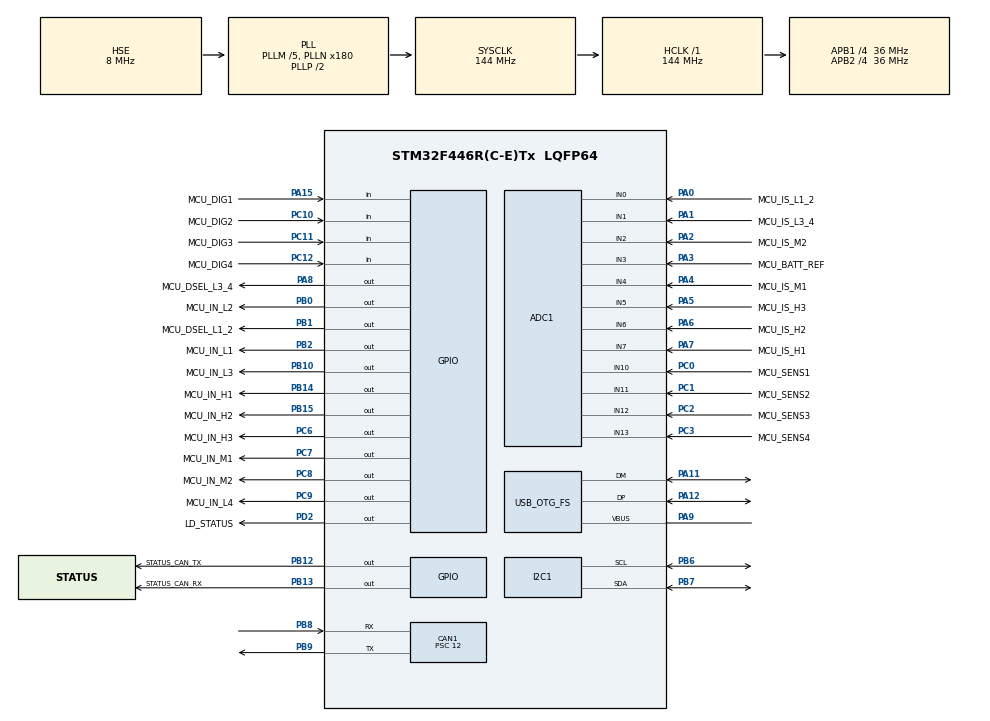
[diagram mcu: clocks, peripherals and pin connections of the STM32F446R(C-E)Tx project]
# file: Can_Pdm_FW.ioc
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ADC1.Channel-0\#ChannelRegularConversion=ADC_CHANNEL_7
ADC1.Channel-1\#ChannelRegularConversion=ADC_CHANNEL_6
ADC1.Channel-10\#ChannelRegularConversion=ADC_CHANNEL_13
ADC1.Channel-11\#ChannelRegularConversion=ADC_CHANNEL_3
ADC1.Channel-2\#ChannelRegularConversion=ADC_CHANNEL_5
ADC1.Channel-3\#ChannelRegularConversion=ADC_CHANNEL_4
ADC1.Channel-4\#ChannelRegularConversion=ADC_CHANNEL_2
ADC1.Channel-5\#ChannelRegularConversion=ADC_CHANNEL_0
ADC1.Channel-6\#ChannelRegularConversion=ADC_CHANNEL_1
ADC1.Channel-7\#ChannelRegularConversion=ADC_CHANNEL_10
ADC1.Channel-8\#ChannelRegularConversion=ADC_CHANNEL_11
ADC1.Channel-9\#ChannelRegularConversion=ADC_CHANNEL_12
ADC1.ContinuousConvMode=ENABLE
ADC1.DMAContinuousRequests=ENABLE
ADC1.EnableAnalogWatchDog=false
ADC1.NbrOfConversion=12
ADC1.NbrOfConversionFlag=1
ADC1.Rank-0\#ChannelRegularConversion=1
ADC1.Rank-1\#ChannelRegularConversion=2
ADC1.Rank-10\#ChannelRegularConversion=11
ADC1.Rank-11\#ChannelRegularConversion=12
ADC1.Rank-2\#ChannelRegularConversion=3
ADC1.Rank-3\#ChannelRegularConversion=4
ADC1.Rank-4\#ChannelRegularConversion=5
ADC1.Rank-5\#ChannelRegularConversion=6
ADC1.Rank-6\#ChannelRegularConversion=7
ADC1.Rank-7\#ChannelRegularConversion=8
ADC1.Rank-8\#ChannelRegularConversion=9
ADC1.Rank-9\#ChannelRegularConversion=10
ADC1.SamplingTime-0\#ChannelRegularConversion=ADC_SAMPLETIME_144CYCLES
ADC1.SamplingTime-1\#ChannelRegularConversion=ADC_SAMPLETIME_144CYCLES
ADC1.SamplingTime-10\#ChannelRegularConversion=ADC_SAMPLETIME_144CYCLES
ADC1.SamplingTime-11\#ChannelRegularConversion=ADC_SAMPLETIME_144CYCLES
ADC1.SamplingTime-2\#ChannelRegularConversion=ADC_SAMPLETIME_144CYCLES
ADC1.SamplingTime-3\#ChannelRegularConversion=ADC_SAMPLETIME_144CYCLES
ADC1.SamplingTime-4\#ChannelRegularConversion=ADC_SAMPLETIME_144CYCLES
ADC1.SamplingTime-5\#ChannelRegularConversion=ADC_SAMPLETIME_144CYCLES
ADC1.SamplingTime-6\#ChannelRegularConversion=ADC_SAMPLETIME_144CYCLES
ADC1.SamplingTime-7\#ChannelRegularConversion=ADC_SAMPLETIME_144CYCLES
ADC1.SamplingTime-8\#ChannelRegularConversion=ADC_SAMPLETIME_144CYCLES
ADC1.SamplingTime-9\#ChannelRegularConversion=ADC_SAMPLETIME_144CYCLES
ADC1.ScanConvMode=ENABLE
ADC1.master=1
CAN1.BS1=CAN_BS1_3TQ
CAN1.BS2=CAN_BS2_2TQ
CAN1.CalculateBaudRate=499999
CAN1.CalculateTimeBit=2000
CAN1.CalculateTimeQuantum=333.33333333333337
CAN1.Prescaler=12
Dma.ADC1.0.Direction=DMA_PERIPH_TO_MEMORY
Dma.ADC1.0.FIFOMode=DMA_FIFOMODE_DISABLE
Dma.ADC1.0.Instance=DMA2_Stream0
Dma.ADC1.0.MemDataAlignment=DMA_MDATAALIGN_HALFWORD
Dma.ADC1.0.MemInc=DMA_MINC_ENABLE
Dma.ADC1.0.Mode=DMA_CIRCULAR
Dma.ADC1.0.PeriphDataAlignment=DMA_PDATAALIGN_HALFWORD
Dma.ADC1.0.PeriphInc=DMA_PINC_DISABLE
Dma.ADC1.0.Priority=DMA_PRIORITY_LOW
Dma.Request0=ADC1
FREERTOS.Tasks01=BoardStatusTask,0,128,StartBoardStatusTask,Default,NULL,Dynamic,NULL,NULL
I2C1.I2C_Mode=I2C_Standard
Mcu.Family=STM32F4
Mcu.Name=STM32F446R(C-E)Tx
Mcu.Package=LQFP64
NVIC.CAN1_RX0_IRQn=true\:5\:0\:false\:false\:true\:true\:true\:true\:true
NVIC.DMA2_Stream0_IRQn=true\:5\:0\:false\:false\:true\:true\:false\:true\:true
NVIC.OTG_FS_IRQn=true\:5\:0\:false\:false\:true\:true\:false\:true\:true
NVIC.PriorityGroup=NVIC_PRIORITYGROUP_4
PA0-WKUP.GPIO_Label=MCU_IS_L1_2
PA0-WKUP.Signal=ADCx_IN0
PA1.GPIO_Label=MCU_IS_L3_4
PA1.Signal=ADCx_IN1
PA11.Mode=Device_Only
PA11.Signal=USB_OTG_FS_DM
PA12.Mode=Device_Only
PA12.Signal=USB_OTG_FS_DP
PA13.Signal=SYS_JTMS-SWDIO
PA14.Signal=SYS_JTCK-SWCLK
PA15.GPIO_Label=MCU_DIG1
PA15.Signal=GPIO_Input
PA2.GPIO_Label=MCU_IS_M2
PA2.Signal=ADCx_IN2
PA3.GPIO_Label=MCU_BATT_REF
PA3.Signal=ADCx_IN3
PA4.GPIO_Label=MCU_IS_M1
PA4.Signal=ADCx_IN4
PA5.GPIO_Label=MCU_IS_H3
PA5.Signal=ADCx_IN5
PA6.GPIO_Label=MCU_IS_H2
PA6.Signal=ADCx_IN6
PA7.GPIO_Label=MCU_IS_H1
PA7.Signal=ADCx_IN7
PA8.GPIO_Label=MCU_DSEL_L3_4
PA8.Signal=GPIO_Output
PA9.Mode=Activate_VBUS
PA9.Signal=USB_OTG_FS_VBUS
PB0.GPIO_Label=MCU_IN_L2
PB0.Signal=GPIO_Output
PB1.GPIO_Label=MCU_DSEL_L1_2
PB1.Signal=GPIO_Output
PB10.GPIO_Label=MCU_IN_L3
PB10.Signal=GPIO_Output
PB12.GPIO_Label=STATUS_CAN_TX
PB12.Signal=GPIO_Output
PB13.GPIO_Label=STATUS_CAN_RX
PB13.Signal=GPIO_Output
PB14.GPIO_Label=MCU_IN_H1
PB14.Signal=GPIO_Output
PB15.GPIO_Label=MCU_IN_H2
PB15.Signal=GPIO_Output
PB2.GPIO_Label=MCU_IN_L1
PB2.Signal=GPIO_Output
PB3.Signal=SYS_JTDO-SWO
PB6.Mode=I2C
PB6.Signal=I2C1_SCL
PB7.Mode=I2C
PB7.Signal=I2C1_SDA
PB8.GPIO_PuPd=GPIO_PULLUP
PB8.Mode=CAN_Activate
PB8.Signal=CAN1_RX
PB9.Mode=CAN_Activate
PB9.Signal=CAN1_TX
PC0.GPIO_Label=MCU_SENS1
PC0.Signal=ADCx_IN10
PC1.GPIO_Label=MCU_SENS2
PC1.Signal=ADCx_IN11
PC10.GPIO_Label=MCU_DIG2
PC10.Signal=GPIO_Input
PC11.GPIO_Label=MCU_DIG3
PC11.Signal=GPIO_Input
PC12.GPIO_Label=MCU_DIG4
PC12.Signal=GPIO_Input
PC2.GPIO_Label=MCU_SENS3
PC2.Signal=ADCx_IN12
PC3.GPIO_Label=MCU_SENS4
PC3.Signal=ADCx_IN13
PC6.GPIO_Label=MCU_IN_H3
PC6.Signal=GPIO_Output
PC7.GPIO_Label=MCU_IN_M1
PC7.Signal=GPIO_Output
PC8.GPIO_Label=MCU_IN_M2
PC8.Signal=GPIO_Output
PC9.GPIO_Label=MCU_IN_L4
PC9.Signal=GPIO_Output
PD2.GPIO_Label=LD_STATUS
PD2.Signal=GPIO_Output
PH0-OSC_IN.Mode=HSE-External-Oscillator
PH0-OSC_IN.Signal=RCC_OSC_IN
PH1-OSC_OUT.Mode=HSE-External-Oscillator
PH1-OSC_OUT.Signal=RCC_OSC_OUT
ProjectManager.HeapSize=0x200
ProjectManager.StackSize=0x400
ProjectManager.TargetToolchain=STM32CubeIDE
RCC.AHBFreq_Value=144000000
RCC.APB1CLKDivider=RCC_HCLK_DIV4
RCC.APB1Freq_Value=36000000
RCC.APB1TimFreq_Value=72000000
RCC.APB2CLKDivider=RCC_HCLK_DIV4
RCC.APB2Freq_Value=36000000
RCC.APB2TimFreq_Value=72000000
RCC.CortexFreq_Value=144000000
RCC.HCLKFreq_Value=144000000
RCC.HSE_VALUE=8000000
RCC.PLLM=5
RCC.PLLN=180
RCC.PLLQ=6
RCC.PLLSourceVirtual=RCC_PLLSOURCE_HSE
RCC.SYSCLKFreq_VALUE=144000000
RCC.SYSCLKSource=RCC_SYSCLKSOURCE_PLLCLK
RCC.USBFreq_Value=48000000
RCC.VCOOutputFreq_Value=288000000
SH.ADCx_IN0.0=ADC1_IN0,IN0
SH.ADCx_IN1.0=ADC1_IN1,IN1
SH.ADCx_IN10.0=ADC1_IN10,IN10
SH.ADCx_IN11.0=ADC1_IN11,IN11
SH.ADCx_IN12.0=ADC1_IN12,IN12
SH.ADCx_IN13.0=ADC1_IN13,IN13
SH.ADCx_IN2.0=ADC1_IN2,IN2
SH.ADCx_IN3.0=ADC1_IN3,IN3
SH.ADCx_IN4.0=ADC1_IN4,IN4
SH.ADCx_IN5.0=ADC1_IN5,IN5
SH.ADCx_IN6.0=ADC1_IN6,IN6
SH.ADCx_IN7.0=ADC1_IN7,IN7
USB_DEVICE.CLASS_NAME_FS=CDC
USB_DEVICE.MANUFACTURER_STRING-CDC_FS=NrDevs
USB_DEVICE.PRODUCT_STRING_CDC_FS=CAN PDM
USB_DEVICE.VirtualMode-CDC_FS=Cdc
USB_DEVICE.VirtualModeFS=Cdc_FS
USB_OTG_FS.VirtualMode=Device_Only
VP_FREERTOS_VS_CMSIS_V1.Mode=CMSIS_V1
VP_USB_DEVICE_VS_USB_DEVICE_CDC_FS.Mode=CDC_FS
board=custom

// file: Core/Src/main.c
/* USER CODE BEGIN Header */
/**
  ******************************************************************************
  * @file           : main.c
  * @brief          : Main program body
  ******************************************************************************
  * @attention
  *
  * Copyright (c) 2025 STMicroelectronics.
  * All rights reserved.
  *
  * This software is licensed under terms that can be found in the LICENSE file
  * in the root directory of this software component.
  * If no LICENSE file comes with this software, it is provided AS-IS.
  *
  ******************************************************************************
  */
/* USER CODE END Header */
#include "main.h"
#include "cmsis_os.h"
#include "adc.h"
#include "can.h"
#include "dma.h"
#include "i2c.h"
#include "usb_device.h"
#include "gpio.h"

/* USER CODE BEGIN Includes */
#include "settings.h"
#include "profet.h"
#include "can_handler.h"
/* USER CODE END Includes */

/* USER CODE BEGIN PD */
CAN_TxHeaderTypeDef   TxHeader;
uint8_t               TxData[8];
uint32_t              TxMailbox;
/* USER CODE END PD */

void SystemClock_Config(void);
void MX_FREERTOS_Init(void);

/* USER CODE BEGIN 0 */
extern void Board_SetStatus(BoardStatus_t status);
/* USER CODE END 0 */

int main(void)
{

  /* MCU Configuration--------------------------------------------------------*/

  /* Reset of all peripherals, Initializes the Flash interface and the Systick. */
  HAL_Init();

  /* Configure the system clock */
  SystemClock_Config();

  /* Initialize all configured peripherals */
  MX_GPIO_Init();
  MX_DMA_Init();
  MX_CAN1_Init();
  MX_I2C1_Init();
  MX_ADC1_Init();
  /* USER CODE BEGIN 2 */

  //HAL_Delay(2000);
  //Profet_SetState(&profet_Hout1, 1);
  Start_Dma();
  //InitCanQueue();

  HAL_CAN_ActivateNotification(&hcan1, CAN_IT_RX_FIFO0_MSG_PENDING);
  /* USER CODE END 2 */

  /* Call init function for freertos objects (in cmsis_os2.c) */
  MX_FREERTOS_Init();

  /* Start scheduler */
  osKernelStart();

  /* We should never get here as control is now taken by the scheduler */

  /* Infinite loop */
  while (1)
  {

  /* USER CODE END 3 */
}
}

void SystemClock_Config(void)
{
  RCC_OscInitTypeDef RCC_OscInitStruct = {0};
  RCC_ClkInitTypeDef RCC_ClkInitStruct = {0};

  /** Configure the main internal regulator output voltage
  */
  __HAL_RCC_PWR_CLK_ENABLE();
  __HAL_PWR_VOLTAGESCALING_CONFIG(PWR_REGULATOR_VOLTAGE_SCALE1);

  /** Initializes the RCC Oscillators according to the specified parameters
  * in the RCC_OscInitTypeDef structure.
  */
  RCC_OscInitStruct.OscillatorType = RCC_OSCILLATORTYPE_HSE;
  RCC_OscInitStruct.HSEState = RCC_HSE_ON;
  RCC_OscInitStruct.PLL.PLLState = RCC_PLL_ON;
  RCC_OscInitStruct.PLL.PLLSource = RCC_PLLSOURCE_HSE;
  RCC_OscInitStruct.PLL.PLLM = 5;
  RCC_OscInitStruct.PLL.PLLN = 180;
  RCC_OscInitStruct.PLL.PLLP = RCC_PLLP_DIV2;
  RCC_OscInitStruct.PLL.PLLQ = 6;
  RCC_OscInitStruct.PLL.PLLR = 2;
  if (HAL_RCC_OscConfig(&RCC_OscInitStruct) != HAL_OK)
  {
    Error_Handler();
  }

  /** Initializes the CPU, AHB and APB buses clocks
  */
  RCC_ClkInitStruct.ClockType = RCC_CLOCKTYPE_HCLK|RCC_CLOCKTYPE_SYSCLK
                              |RCC_CLOCKTYPE_PCLK1|RCC_CLOCKTYPE_PCLK2;
  RCC_ClkInitStruct.SYSCLKSource = RCC_SYSCLKSOURCE_PLLCLK;
  RCC_ClkInitStruct.AHBCLKDivider = RCC_SYSCLK_DIV1;
  RCC_ClkInitStruct.APB1CLKDivider = RCC_HCLK_DIV4;
  RCC_ClkInitStruct.APB2CLKDivider = RCC_HCLK_DIV4;

  if (HAL_RCC_ClockConfig(&RCC_ClkInitStruct, FLASH_LATENCY_4) != HAL_OK)
  {
    Error_Handler();
  }
}

void Error_Handler(void)
{
  __disable_irq();
  while (1)
  {
  }
}

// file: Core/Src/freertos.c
/* USER CODE BEGIN Header */
/**
  ******************************************************************************
  * File Name          : freertos.c
  * Description        : Code for freertos applications
  ******************************************************************************
  * @attention
  *
  * Copyright (c) 2025 STMicroelectronics.
  * All rights reserved.
  *
  * This software is licensed under terms that can be found in the LICENSE file
  * in the root directory of this software component.
  * If no LICENSE file comes with this software, it is provided AS-IS.
  *
  ******************************************************************************
  */
/* USER CODE END Header */

#include "FreeRTOS.h"
#include "task.h"
#include "main.h"
#include "cmsis_os.h"

/* USER CODE BEGIN Includes */
#include "settings.h"
#include "profet.h"
#include "can_handler.h"
/* USER CODE END Includes */

/* USER CODE BEGIN Variables */
osThreadId BlinkTxRxCankHandle ;
osThreadId ProfetMonitorStatusTaskHandle ;
/* USER CODE END Variables */
osThreadId BoardStatusTaskHandle;

/* USER CODE BEGIN FunctionPrototypes */
void StartBlinkTxRxCanTask(void const * argument); //Blink led rx tx can
void StartProfetMonitorStatusTask(void const * argument); //Profet Monitor Status Task
/* USER CODE END FunctionPrototypes */

void StartBoardStatusTask(void const * argument);

extern void MX_USB_DEVICE_Init(void);
void MX_FREERTOS_Init(void); /* (MISRA C 2004 rule 8.1) */

/* GetIdleTaskMemory prototype (linked to static allocation support) */
void vApplicationGetIdleTaskMemory( StaticTask_t **ppxIdleTaskTCBBuffer, StackType_t **ppxIdleTaskStackBuffer, uint32_t *pulIdleTaskStackSize );

/* USER CODE BEGIN GET_IDLE_TASK_MEMORY */
static StaticTask_t xIdleTaskTCBBuffer;
static StackType_t xIdleStack[configMINIMAL_STACK_SIZE];

void vApplicationGetIdleTaskMemory( StaticTask_t **ppxIdleTaskTCBBuffer, StackType_t **ppxIdleTaskStackBuffer, uint32_t *pulIdleTaskStackSize )
{
  *ppxIdleTaskTCBBuffer = &xIdleTaskTCBBuffer;
  *ppxIdleTaskStackBuffer = &xIdleStack[0];
  *pulIdleTaskStackSize = configMINIMAL_STACK_SIZE;
  /* place for user code */
}
/* USER CODE END GET_IDLE_TASK_MEMORY */

void MX_FREERTOS_Init(void) {

  /* Create the thread(s) */
  /* definition and creation of BoardStatusTask */
  osThreadDef(BoardStatusTask, StartBoardStatusTask, osPriorityNormal, 0, 128);
  BoardStatusTaskHandle = osThreadCreate(osThread(BoardStatusTask), NULL);

  /* USER CODE BEGIN RTOS_THREADS */
  /* add threads, ... */
  /* definition and creation of BlinkTxRxCanTask */
  osThreadDef(BlinkTxRxCanTask, StartBlinkTxRxCanTask, osPriorityNormal, 0, 128);
  BlinkTxRxCankHandle = osThreadCreate(osThread(BlinkTxRxCanTask), NULL);
  /* definition and creation of ProfetMonitorStatusTask */
  osThreadDef(ProfetMonitorStatusTask, StartProfetMonitorStatusTask, osPriorityNormal, 0, 128);
  ProfetMonitorStatusTaskHandle = osThreadCreate(osThread(ProfetMonitorStatusTask), NULL);
  /* USER CODE END RTOS_THREADS */

}

void StartBoardStatusTask(void const * argument)
{
  /* init code for USB_DEVICE */
  MX_USB_DEVICE_Init();
  /* USER CODE BEGIN StartBoardStatusTask */
  /* Infinite loop */
  for(;;)
  {
	BoardStatus_t Board_Status = Board_GetStatus(); //Get Status of board
	switch (Board_Status) {
		case BOARD_OK:
			HAL_GPIO_TogglePin(LD_STATUS_GPIO_Port, LD_STATUS_Pin);
			osDelay(1000);
			break;

		case BOARD_KO_CAN: //Blink 2 times
		    for (int x = 0; x < 4; ++x) {
		        HAL_GPIO_TogglePin(LD_STATUS_GPIO_Port, LD_STATUS_Pin);
		        osDelay(300);
		    }
		    HAL_GPIO_WritePin(LD_STATUS_GPIO_Port, LD_STATUS_Pin, GPIO_PIN_RESET); //Turn Off led
		    osDelay(1000); //1sec delay
		    break;

		case BOARD_KO_ADC: //Blink 4 times
				    for (int x = 0; x < 8; ++x) {
				        HAL_GPIO_TogglePin(LD_STATUS_GPIO_Port, LD_STATUS_Pin);
				        osDelay(300);
				    }
				    HAL_GPIO_WritePin(LD_STATUS_GPIO_Port, LD_STATUS_Pin, GPIO_PIN_RESET); //Turn Off led
				    osDelay(1000); //1sec delay
				    break;

		case BOARD_KO_I2C: //Blink 6 times
				    for (int x = 0; x < 12; ++x) {
				        HAL_GPIO_TogglePin(LD_STATUS_GPIO_Port, LD_STATUS_Pin);
				        osDelay(300);
				    }
				    HAL_GPIO_WritePin(LD_STATUS_GPIO_Port, LD_STATUS_Pin, GPIO_PIN_RESET); //Turn Off led
				    osDelay(1000); //1sec delay
				    break;

		case BOARD_KO_TEMP: //Blink 8 times
				    for (int x = 0; x < 16; ++x) {
				        HAL_GPIO_TogglePin(LD_STATUS_GPIO_Port, LD_STATUS_Pin);
				        osDelay(300);
				    }
				    HAL_GPIO_WritePin(LD_STATUS_GPIO_Port, LD_STATUS_Pin, GPIO_PIN_RESET); //Turn Off led
				    osDelay(1000); //1sec delay
				    break;
		default:
			HAL_GPIO_WritePin(LD_STATUS_GPIO_Port, LD_STATUS_Pin, GPIO_PIN_RESET); //Turn Off led
			osDelay(1000);
			break;

	}
	osDelay(1); //Prevent cpu blocking
  }
  /* USER CODE END StartBoardStatusTask */
}

/* USER CODE BEGIN Application */
/* USER CODE BEGIN Header_StartProfetMonitorStatusTask */
/**
  * @brief  Function implementing the ProfetMonitorStatusTask thread.
  * @param  argument: Not used
  * @retval None
  */
/* USER CODE END Header_StartProfetMonitorStatusTask */
void StartProfetMonitorStatusTask(void const * argument)
{

  /* USER CODE BEGIN StartProfetMonitorStatusTask */
  /* Infinite loop */
  for(;;)
  {
	Profet_UpdateAllCurrents(); //Update all profet current
	osDelay(200); //Prevent cpu blocking
  }
  /* USER CODE END StartProfetMonitorStatusTask */
}

void StartBlinkTxRxCanTask(void const * argument)
{
    for(;;)
    {
        if (can_rx_flag)
        {
            can_rx_flag = false;

            HAL_GPIO_WritePin(STATUS_CAN_RX_GPIO_Port, STATUS_CAN_RX_Pin, GPIO_PIN_SET);
            osDelay(50);
            HAL_GPIO_WritePin(STATUS_CAN_RX_GPIO_Port, STATUS_CAN_RX_Pin, GPIO_PIN_RESET);
        }

        osDelay(1);  // Evita blocco CPU
    }
}

/* USER CODE END Application */
